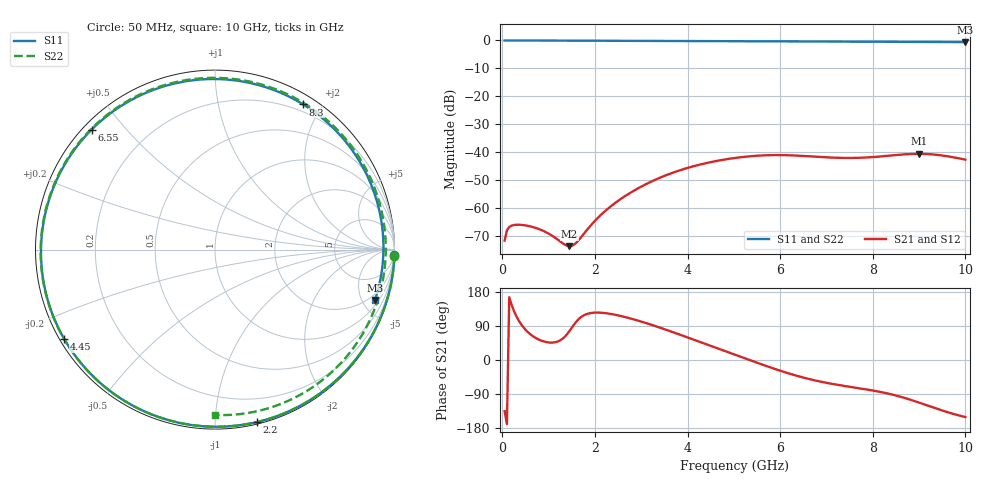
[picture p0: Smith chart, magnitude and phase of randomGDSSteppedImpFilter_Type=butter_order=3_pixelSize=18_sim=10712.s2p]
! freq	dB(S11)	phase(S11)	dB(S12)	phase(S12)
!  dB(S21)	phase(S21)	dB(S22)	phase(S22)
!S-par simulation data
#  GHz  S  DB  R 50
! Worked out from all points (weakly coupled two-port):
!   200 points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, 50 MHz to 10 GHz, reference 50 ohm
!   highest |S21| = -40.49 dB at 9 GHz (marker M1); lowest = -73.5 dB at 1.45 GHz (marker M2)
!   lowest |S11| = -0.6 dB at 10 GHz (marker M3), VSWR 29.49, Z = 70.2 - j310 ohm
!   |S11| at or under -10 dB: nowhere
!   |S22| runs from -0.7 to 0.0 dB; largest |S21 - S12| = 0
!   S11 on the Smith chart (normalised r, x): 50 MHz: 0, -64; 2.2 GHz: 0.01, -1.27; 4.45 GHz: 0.01, -0.27; 6.55 GHz: 0.02, +0.41; 8.3 GHz: 0.11, +1.77; 10 GHz: 1.40, -6.20
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0.05  -0.00 -1.8  -71.50 -135.0  -71.50 -135.0  -0.00 -2.0
0.1  -0.00 -3.6  -67.84 -169.2  -67.84 -169.2  -0.00 -4.0
0.15  -0.00 -5.4  -66.63 165.7  -66.63 165.7  -0.00 -6.1
0.4  -0.01 -14.3  -65.85 95.5  -65.85 95.5  -0.01 -16.2
0.85  -0.03 -30.3  -67.73 50.8  -67.73 50.8  -0.04 -34.1
1.45  -0.06 -51.1  -73.46 76.4  -73.46 76.4  -0.07 -57.9
1.75  -0.08 -61.3  -69.28 117.1  -69.28 117.1  -0.09 -69.6
2.2  -0.10 -76.4  -61.22 124.0  -61.22 124.0  -0.11 -87.2
2.8  -0.12 -96.1  -54.05 108.6  -54.05 108.6  -0.14 -110.8
3.4  -0.15 -115.5  -49.05 85.6  -49.05 85.6  -0.18 -134.8
3.95  -0.18 -133.1  -45.76 61.8  -45.76 61.8  -0.21 -157.6
4.45  -0.21 -149.3  -43.63 39.5  -43.63 39.5  -0.25 -179.5
5.05  -0.25 -169.3  -41.91 12.7  -41.91 12.7  -0.30 152.2
5.85  -0.31 162.6  -40.94 -22.1  -40.94 -22.1  -0.36 110.6
6.55  -0.37 135.8  -41.29 -47.9  -41.29 -47.9  -0.40 71.4
6.7  -0.38 129.7  -41.44 -52.4  -41.44 -52.4  -0.40 62.9
7.5  -0.44 95.5  -41.96 -70.6  -41.96 -70.6  -0.42 18.5
8.3  -0.48 58.7  -41.23 -87.8  -41.23 -87.8  -0.46 -21.5
8.35  -0.48 56.4  -41.15 -89.2  -41.15 -89.2  -0.46 -23.8
9  -0.51 26.1  -40.49 -112.5  -40.49 -112.5  -0.53 -52.0
9.5  -0.54 3.7  -41.08 -133.3  -41.08 -133.3  -0.61 -71.6
10  -0.59 -17.5  -42.55 -150.6  -42.55 -150.6  -0.71 -89.9
